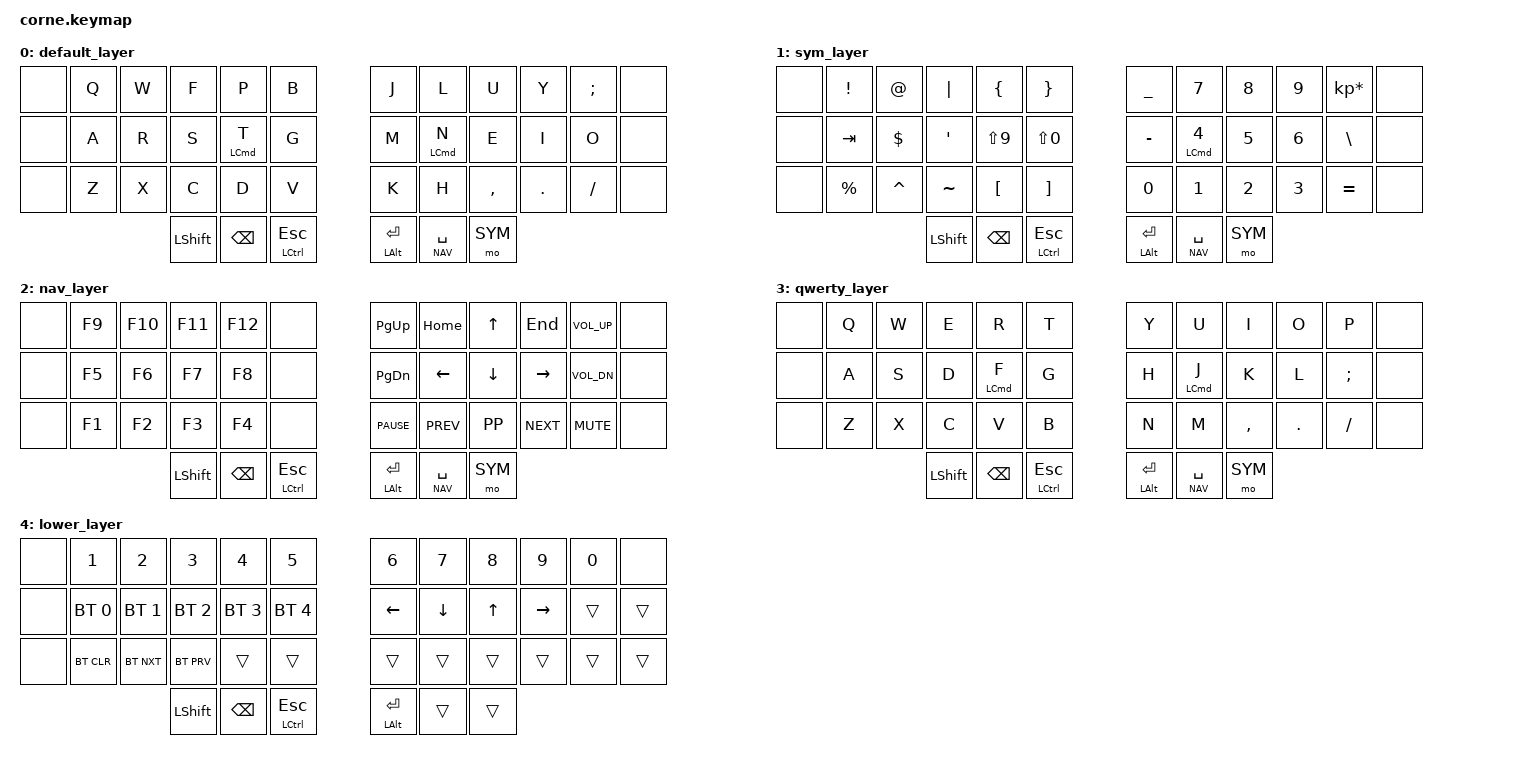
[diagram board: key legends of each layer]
/*
 * Copyright (c) 2020 The ZMK Contributors
 *
 * SPDX-License-Identifier: MIT
 */

#include <behaviors.dtsi>
#include <dt-bindings/zmk/keys.h>
#include <dt-bindings/zmk/bt.h>

#define DEFAULT 0
#define SYM 1
#define NAV 2
#define QWERTY 3
#define LOWER 4

/ {
    keymap {
        compatible = "zmk,keymap";

            default_layer {
// -------------------------------   --------------------------------
// |  Q  |  W  |  F  |  P  |  B  |   |  J  |  L   |  U  |  Y  |  ;  |
// |  A  |  R  |  S  |  T  |  G  |   |  M  |  N   |  E  |  I  |  O  |
// |  Z  |  X  |  C  |  D  |  V  |   |  K  |  H   |  ,  |  .  |  /  |
//             |LShft| BSPC|CTRLESC||ALTENT|NAVSPC| SYM |
// Note that we have to set the outer cols &none because this is only a 3x5 keyboard
                        bindings = <
   &none &kp Q &kp W &kp F &kp P &kp B   &kp J &kp L  &kp U     &kp Y   &kp SEMI &none
   &none &kp A &kp R &kp S &hm LCMD T &kp G   &kp M &hm LCMD N  &kp E     &kp I   &kp O    &none
   &none &kp Z &kp X &kp C &kp D &kp V   &kp K &kp H  &kp COMMA &kp DOT &kp FSLH &none
                  &kp LSHIFT &kp BSPC &mt LCTL ESC   &mt LALT RET &lt NAV SPACE &mo SYM
                        >;
           };

           sym_layer {
// -------------------------------   -------------------------------
// |  !  |  @  |  |  |  {  |  }  |   |  _  |  7  |  8  |  9  |  *  |
// | Tab |  $  | '"  |  (  |  )  |   |  -  |  4  |  5  |  6  | \|  |
// |  %  |  ^  | `~  |  [  |  ]  |   |  0  |  1  |  2  |  3  | =+  |
//             |LShft| BSPC|CTRLESC||ALTENT|NAVSPC| SYM |
// Note that we have to set the outer cols &none because this is only a 3x5 keyboard
                        bindings = <
   &none &kp EXCL    &kp AT     &kp PIPE  &kp LBRC &kp RBRC   &kp UNDER &kp N7  &kp N8 &kp N9 &kp KP_ASTERISK &none
   &none &kp TAB     &kp DOLLAR &kp SINGLE_QUOTE &kp LS(N9)  &kp LS(N0) &kp MINUS &hm LCMD N4 &kp N5 &kp N6 &kp BSLH &none
   &none &kp PERCENT &kp CARET  &kp TILDE &kp LBKT &kp RBKT      &kp N0 &kp N1  &kp N2 &kp N3 &kp EQUAL &none
                  &kp LSHIFT &kp BSPC &mt LCTL ESC   &mt LALT RET &lt NAV SPACE &mo SYM
                        >;
           };

           nav_layer {
// -------------------------------   -------------------------------
// | F9  | F10 | F11 | F12 |     |   | PGUP| HOME|  UP | END |VOLUP|
// | F5  | F6  | F7  | F8  |     |   | PGDN| LEFT| DOWN| RGHT|VOLDN|
// | F1  | F2  | F3  | F4  |     |   |PAUSE|MPREV|MPLAY|MNEXT| MUTE|
//             |LShft| BSPC|CTRLESC||ALTENT|NAVSPC|     |
// Note that we have to set the outer cols &none because this is only a 3x5 keyboard
                        bindings = <
   &none &kp F9 &kp F10 &kp F11 &kp F12 &none  &kp PG_UP &kp HOME &kp UP   &kp END &kp K_VOL_UP &none
   &none &kp F5 &kp F6 &kp F7 &kp F8 &none     &kp PG_DN &kp LEFT &kp DOWN &kp RIGHT &kp K_VOL_DN   &none
   &none &kp F1 &kp F2 &kp F3 &kp F4 &none     &kp C_PAUSE &kp K_PREV &kp K_PP &kp K_NEXT &kp K_MUTE &none
                  &kp LSHIFT &kp BSPC &mt LCTL ESC   &mt LALT RET &lt NAV SPACE &mo SYM
                        >;
           };

           qwerty_layer {
// -------------------------------   --------------------------------
// |  Q  |  W  |  E  |  R  |  T  |   |  Y  |  U   |  I  |  O  |  P  |
// |  A  |  S  |  D  |  F  |  G  |   |  H  |  J   |  K  |  L  |  ;  |
// |  Z  |  X  |  C  |  V  |  B  |   |  N  |  M   |  ,  |  .  |  /  |
//             |LShft| BSPC|CTRLESC||ALTENT|NAV SPC| SYM |
// Note that we have to set the outer cols &none because this is only a 3x5 keyboard
                        bindings = <
   &none &kp Q &kp W &kp E &kp R &kp T   &kp Y &kp U  &kp I     &kp O   &kp P    &none
   &none &kp A &kp S &kp D &hm LCMD F &kp G   &kp H &hm LCMD J  &kp K     &kp L   &kp SEMI &none
   &none &kp Z &kp X &kp C &kp V &kp B   &kp N &kp M  &kp COMMA &kp DOT &kp FSLH &none
                  &kp LSHIFT &kp BSPC &mt LCTL ESC   &mt LALT RET &lt NAV SPACE &mo SYM
                        >;
           };

           lower_layer {
// -------------------------------   -------------------------------
// |  1  |  2  |  3  |  4  |  5  |   |  6  |  7  |  8  |  9  |  0  |
// | BT1 | BT2 | BT3 | BT4 | BT5 |   | LFT | DWN |  UP | RGT |     |
// |BTCLR|BTNXT|BTPRV|     |     |   |     |     |     |     |     |
//             |LShft| Bspc|CTRLESC||ALTENT| SPC|  |
// Note that we have to set the outer cols &none because this is only a 3x5 keyboard
                        bindings = <
   &none &kp N1       &kp N2       &kp N3       &kp N4       &kp N5         &kp N6   &kp N7   &kp N8 &kp N9    &kp N0 &none
   &none &bt BT_SEL 0 &bt BT_SEL 1 &bt BT_SEL 2 &bt BT_SEL 3 &bt BT_SEL 4   &kp LEFT &kp DOWN &kp UP &kp RIGHT &trans &trans
   &none &bt BT_CLR   &bt BT_NXT   &bt BT_PRV   &trans       &trans         &trans   &trans   &trans &trans    &trans &trans
                  &kp LSHIFT &kp BSPC &mt LCTL ESC   &mt LALT RET &trans &trans
                        >;
           };
        };

        conditional_layers {
          compatible = "zmk,conditional-layers";
          tri_layer {
            if-layers = <SYM NAV>;
            then-layer = <LOWER>;
          };
        };

        behaviors {
          hm: homerow_mods {
            compatible = "zmk,behavior-hold-tap";
            label = "HOMEROW_MODS";
            #binding-cells = <2>;
            tapping-term-ms = <200>;
            quick-tap-ms = <200>;
            flavor = "tap-preferred";
            bindings = <&kp>, <&kp>;
          };
        };
  };
